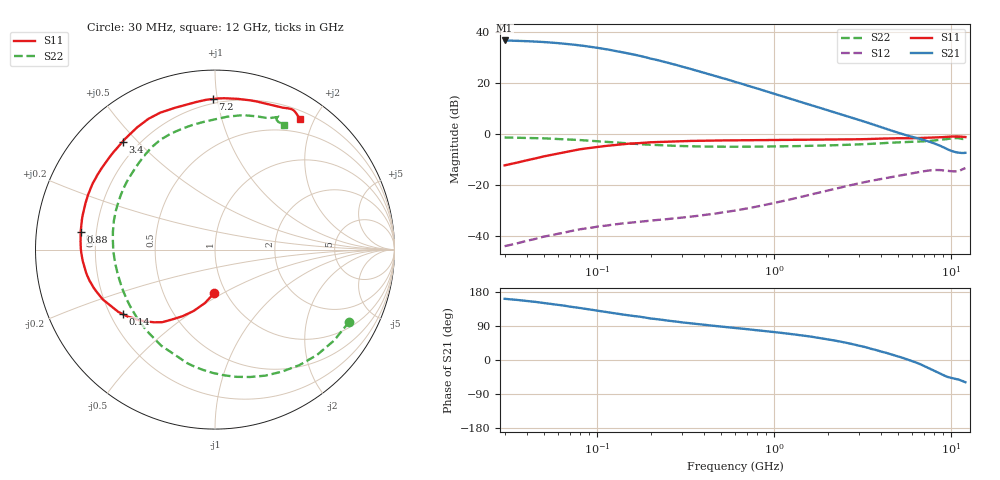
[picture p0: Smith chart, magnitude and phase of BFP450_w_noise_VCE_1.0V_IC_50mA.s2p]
! (c) 2015  Infineon Technologies AG, Munich
! Infineon Technologies  Discrete & RF Semiconductors
! BFP450
! VCE =  1.0 V,  IC =  50 mA
! Common Emitter S-Parameters:  Nov 2015
# GHz  S  MA  R  50
!  f  S11  S21  S12  S22
! GHz  MAG  ANG  MAG  ANG  MAG  ANG  MAG  ANG
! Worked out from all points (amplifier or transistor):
!   239 points, 30 MHz to 12 GHz, reference 50 ohm
!   highest |S21| = 36.6 dB at 30 MHz (marker M1)
!   |S21| within 3 dB of that: start of sweep to 102.8 MHz
!   unconditionally stable (mu >= 1): 1.101 GHz to end of sweep
!   at 300 MHz: K = 0.56, MSG = 29.6 dB, |S12| = -32.8 dB
!   at 1.88 GHz: K = 1.09, MAG = 14.4 dB, |S12| = -22.7 dB
!   at 12 GHz: K = 1.08, MAG = 1.2 dB, |S12| = -13.4 dB
!   lowest NFmin = 1.55 dB at 450 MHz
!   S11 on the Smith chart (normalised r, x): 30 MHz: 0.88, -0.45; 140 MHz: 0.25, -0.30; 880 MHz: 0.14, +0.06; 3.4 GHz: 0.14, +0.45; 7.2 GHz: 0.17, +0.97; 12 GHz: 0.31, +1.80
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0.03  0.2415 -90.8  67.63 161.5  0.0063 77.0  0.8493 -28.2
0.04  0.3031 -100.7  65.48 155.9  0.008 71.6  0.8347 -37.3
0.05  0.3621 -109.2  62.95 150.4  0.0097 68.3  0.8174 -45.9
0.06  0.413 -116.0  59.98 145.7  0.011 63.7  0.7969 -53.9
0.07  0.458 -121.7  56.98 140.9  0.0123 60.3  0.7752 -61.4
0.085  0.5133 -128.0  52.68 135.4  0.0139 56.4  0.7449 -71.4
0.1  0.5544 -133.8  48.57 130.2  0.0152 53.6  0.7187 -80.5
0.11  0.5766 -136.9  46.11 127.3  0.0158 51.6  0.7024 -85.8
0.14  0.6274 -145.1  39.49 119.9  0.0176 47.8  0.6625 -99.7
0.15  0.6413 -147.3  37.56 117.7  0.018 46.9  0.6519 -103.6
0.2  0.6838 -156.0  29.87 109.5  0.02 44.2  0.6131 -119.3
0.24  0.7012 -160.6  25.7 105.1  0.0211 43.7  0.5934 -128.2
0.3  0.7202 -166.1  20.83 99.4  0.0229 43.7  0.5773 -138.9
0.36  0.73 -170.1  17.53 95.4  0.0245 44.6  0.5681 -146.5
0.45  0.7387 -174.6  14.02 90.4  0.027 46.1  0.5615 -155.1
0.6  0.7476 179.8  10.44 84.4  0.0314 48.7  0.559 -164.7
0.88  0.7544 172.6  6.993 76.5  0.0403 51.5  0.5635 -176.0
1.64  0.7686 158.0  3.593 61.1  0.0656 50.1  0.5841 165.2
3.4  0.7914 130.6  1.637 31.7  0.1173 32.4  0.6332 135.2
4.5  0.8176 117.0  1.181 15.8  0.1402 21.2  0.6705 121.8
7.2  0.8388 90.9  0.736 -18.2  0.1881 -6.6  0.7164 93.9
12  0.866 56.9  0.425 -58.6  0.2138 -42.8  0.7952 61.1
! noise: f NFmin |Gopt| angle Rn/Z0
0.45  1.55  0.54  -173  0.06
0.9  1.61  0.56  -168  0.07
1.9  1.71  0.6  -153  0.1
2.4  1.81  0.6  -144  0.14
